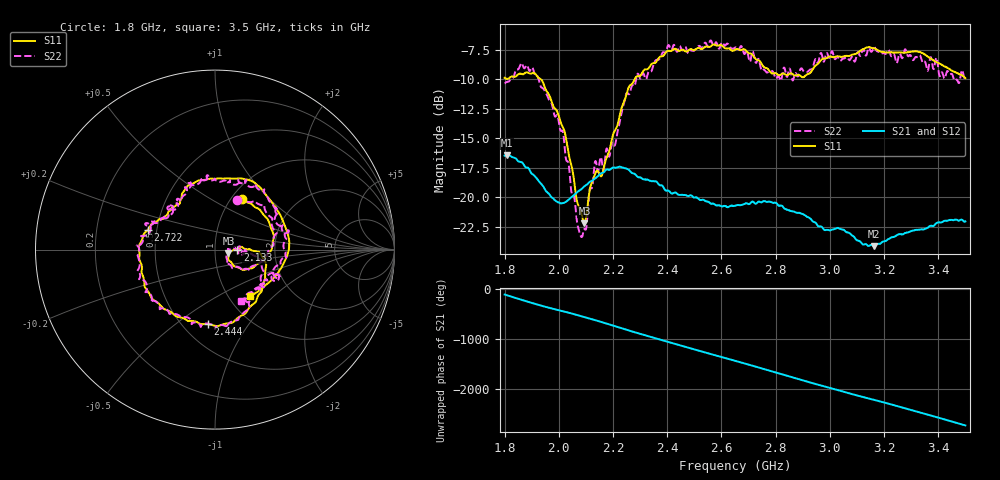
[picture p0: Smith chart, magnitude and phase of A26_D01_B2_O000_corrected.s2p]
! Created with skrf 1.9.0 (http://scikit-rf.org).
# Hz S RI R 50.0
!freq ReS11 ImS11 ReS21 ImS21 ReS12 ImS12 ReS22 ImS22
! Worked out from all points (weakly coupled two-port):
!   1601 points, 1.8 GHz to 3.5 GHz, reference 50 ohm
!   highest |S21| = -16.44 dB at 1.81 GHz (marker M1); lowest = -24.2 dB at 3.162 GHz (marker M2)
!   lowest |S11| = -22.2 dB at 2.094 GHz (marker M3), VSWR 1.17, Z = 58.1 - j2.28 ohm
!   |S11| at or under -10 dB: 1.934 GHz to 2.28 GHz (345.2 MHz wide, 16.4 % of centre)
!   |S22| runs from -23.4 to -6.7 dB; largest |S21 - S12| = 0.003
!   S11 on the Smith chart (normalised r, x): 1.8 GHz: 1.12, +0.71; 2.133 GHz: 1.28, -0.01; 2.444 GHz: 0.66, -0.66; 2.722 GHz: 0.45, +0.11; 3.5 GHz: 1.25, -0.71
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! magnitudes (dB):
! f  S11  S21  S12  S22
! 1.8 GHz  -9.9  -16.5  -16.5  -10.3
! 1.81 GHz  -10.0  -16.4  -16.5  -10.2
! 1.881 GHz  -9.4  -17.5  -17.5  -8.8
! 1.968 GHz  -11.5  -19.8  -19.9  -11.9
! 2.014 GHz  -14.0  -20.5  -20.5  -14.4
! 2.072 GHz  -20.7  -19.5  -19.5  -22.6
! 2.084 GHz  -21.4  -19.3  -19.3  -23.4
! 2.094 GHz  -22.2  -19.1  -19.1  -22.7
! 2.133 GHz  -18.1  -18.4  -18.4  -17.1
! 2.16 GHz  -18.1  -17.9  -17.9  -17.2
! 2.208 GHz  -14.3  -17.5  -17.5  -15.5
! 2.26 GHz  -10.6  -17.7  -17.7  -11.2
! 2.367 GHz  -8.2  -18.9  -18.8  -8.3
! 2.444 GHz  -7.6  -19.8  -19.8  -7.2
! 2.65 GHz  -7.5  -20.7  -20.7  -7.3
! 2.722 GHz  -8.2  -20.5  -20.4  -8.3
! 2.813 GHz  -9.6  -20.7  -20.6  -9.8
! 2.934 GHz  -9.3  -22.0  -22.0  -9.1
! 3.162 GHz  -7.4  -24.2  -24.1  -7.3
! 3.217 GHz  -7.7  -23.5  -23.5  -7.5
! 3.332 GHz  -7.7  -22.8  -22.8  -7.9
! 3.5 GHz  -9.9  -22.1  -22.1  -9.9
